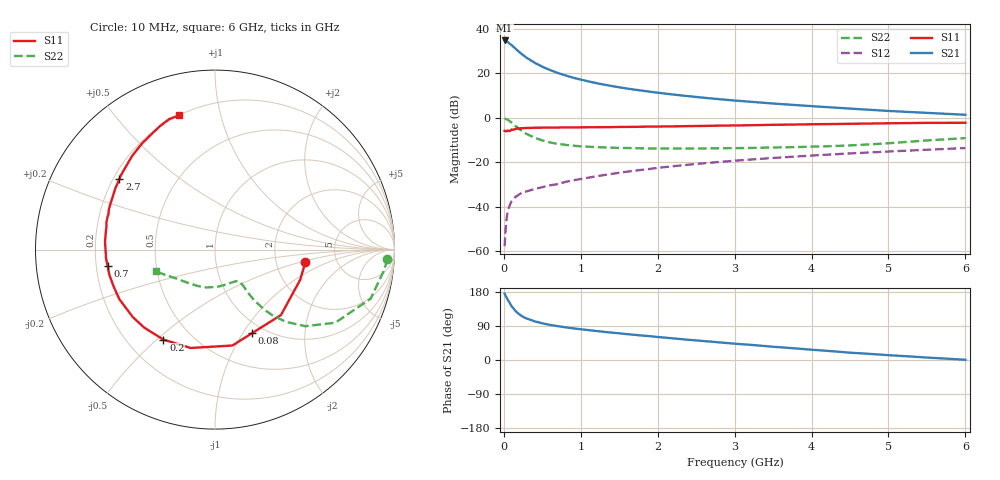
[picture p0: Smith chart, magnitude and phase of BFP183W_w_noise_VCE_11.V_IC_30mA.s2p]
! Infineon Technologies  Discrete & RF Semiconductors
! BFP183W
! VCE =  11. V,  IC =  30 mA
! Common Emitter S-Parameters:  Jan 2017
# GHz  S  MA  R  50
!  f  S11  S21  S12  S22
! GHz  MAG  ANG  MAG  ANG  MAG  ANG  MAG  ANG
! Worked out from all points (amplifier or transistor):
!   77 points, 10 MHz to 6 GHz, reference 50 ohm
!   highest |S21| = 34.8 dB at 10 MHz (marker M1)
!   |S21| within 3 dB of that: start of sweep to 130 MHz
!   unconditionally stable (mu >= 1): 1.056 GHz to 3.43 GHz
!   at 130 MHz: K = 0.29, MSG = 34.1 dB, |S12| = -36.4 dB
!   at 2.2 GHz: K = 1.06, MAG = 14.6 dB, |S12| = -21.8 dB
!   at 6 GHz: K = 0.86, MSG = 7.5 dB, |S12| = -13.6 dB
!   lowest NFmin = 1.39 dB at 450 MHz
!   S11 on the Smith chart (normalised r, x): 10 MHz: 2.95, -0.55; 80 MHz: 0.87, -1.10; 200 MHz: 0.35, -0.53; 700 MHz: 0.25, -0.07; 2.7 GHz: 0.22, +0.31; 6 GHz: 0.20, +0.75
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0.01  0.5086 -7.8  54.96 175.2  0.0013 70.3  0.9625 -3.2
0.02  0.5036 -19.4  53.7 170.6  0.0026 74.3  0.9486 -7.0
0.05  0.5178 -44.7  50.77 158.9  0.0078 71.3  0.9095 -17.5
0.08  0.5096 -66.2  45.91 149.3  0.0111 65.6  0.8291 -25.2
0.1  0.5431 -79.7  43.5 141.9  0.0133 63.4  0.7853 -31.2
0.14  0.5526 -99.3  37.53 132.4  0.0159 55.2  0.6835 -38.2
0.15  0.5647 -103.9  36.23 129.6  0.0166 53.6  0.66 -40.3
0.2  0.5778 -119.8  30.25 120.6  0.019 52.9  0.5629 -45.6
0.25  0.5868 -132.0  25.72 113.9  0.0212 47.7  0.4872 -48.8
0.3  0.5926 -140.6  22.16 109.1  0.0223 47.4  0.4307 -50.7
0.4  0.6003 -152.5  17.32 101.9  0.025 48.5  0.3556 -52.3
0.5  0.6011 -160.3  14.09 96.8  0.0276 48.9  0.3106 -52.5
0.7  0.6052 -171.2  10.23 89.4  0.0324 54.3  0.2599 -52.0
0.9  0.6091 -178.8  8.006 83.6  0.0393 56.4  0.2364 -52.3
1.1  0.6145 175.4  6.597 78.9  0.0451 58.6  0.2243 -53.0
1.5  0.6237 165.8  4.858 70.4  0.0582 60.5  0.2106 -56.8
2.1  0.6398 153.7  3.506 58.9  0.0782 60.5  0.204 -67.8
2.7  0.6623 143.5  2.727 48.3  0.0983 58.7  0.2058 -82.5
3.1  0.6779 137.3  2.376 41.6  0.1117 56.9  0.2091 -92.7
4.1  0.72 123.5  1.786 25.7  0.145 51.3  0.2268 -118.9
5.1  0.7573 112.8  1.401 11.5  0.178 45.3  0.276 -145.2
6  0.7746 104.9  1.172 0.5  0.2092 39.5  0.35 -159.6
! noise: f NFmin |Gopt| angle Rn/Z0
0.45  1.39  0.27  180  0.1
0.9  1.43  0.3  -178  0.09
1.9  1.92  0.45  -156  0.1
2.4  2.17  0.5  -152  0.15
